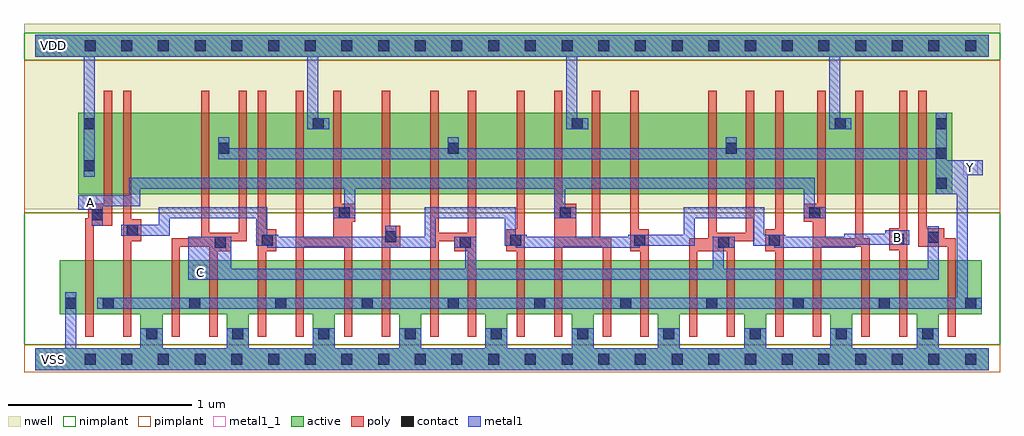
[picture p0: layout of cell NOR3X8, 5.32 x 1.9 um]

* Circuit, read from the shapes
.subckt NOR3X8 A B C VDD VSS Y
M1 Y A VSS VSS nfet w=0.295u l=0.045u m=7
M2 VSS B Y VSS nfet w=0.295u l=0.045u m=7
M3 Y C VSS VSS nfet w=0.295u l=0.045u m=7
M4 n1 A VDD VDD pfet w=0.445u l=0.045u
M5 n2 B n1 VDD pfet w=0.445u l=0.045u
M6 Y C n2 VDD pfet w=0.445u l=0.045u
M7 n3 C Y VDD pfet w=0.445u l=0.045u
M8 n4 B n3 VDD pfet w=0.445u l=0.045u
M9 VDD A n4 VDD pfet w=0.445u l=0.045u
M10 n5 A VDD VDD pfet w=0.445u l=0.045u
M11 n6 B n5 VDD pfet w=0.445u l=0.045u
M12 Y C n6 VDD pfet w=0.445u l=0.045u
M13 n7 C Y VDD pfet w=0.445u l=0.045u
M14 n8 B n7 VDD pfet w=0.445u l=0.045u
M15 VDD A n8 VDD pfet w=0.445u l=0.045u
M16 n9 A VDD VDD pfet w=0.445u l=0.045u
M17 n10 B n9 VDD pfet w=0.445u l=0.045u
M18 Y C n10 VDD pfet w=0.445u l=0.045u
M19 n11 C Y VDD pfet w=0.445u l=0.045u
M20 n12 B n11 VDD pfet w=0.445u l=0.045u
M21 VDD A n12 VDD pfet w=0.445u l=0.045u
M22 n13 A VDD VDD pfet w=0.445u l=0.045u
M23 n14 B n13 VDD pfet w=0.445u l=0.045u
M24 Y C n14 VDD pfet w=0.445u l=0.045u
.ends

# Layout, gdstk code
import gdstk
lib = gdstk.Library(unit=1e-6, precision=5e-10)
def R(c, l, rs):  # rectangles x0, y0, x1, y1
    for r in rs: c.add(gdstk.rectangle(r[:2], r[2:], *l))
def A(c, l, x, y, w, h, nx, ny, dx, dy):  # array of equal rectangles
    R(c, l, [(x+i*dx, y+j*dy, x+i*dx+w, y+j*dy+h) for i in range(nx) for j in range(ny)])
def P(c, l, *ps):  # polygons
    for p in ps: c.add(gdstk.Polygon(p, *l))
active = (1, 0)
nwell = (2, 0)
poly = (3, 0)
nimplant = (4, 0)
pimplant = (5, 0)
contact = (6, 0)
metal1 = (7, 0)
metal1_1 = (7, 1)

nor3x8 = lib.new_cell('NOR3X8')
R(nor3x8, active, [(0.235,0.9,5,1.345), (0,1.65,5.2,1.77)])
P(nor3x8, active, [(0.135,0.54),(5.16,0.54),(5.16,0.245),(4.925,0.245),(4.925,0.06),(5.2,0.06),(5.2,-0.06),(0,-0.06),(0,0.06),(0.575,0.06),(0.575,0.245),(0.695,0.245),(0.695,0.06),(1.045,0.06),(1.045,0.245),(1.165,0.245),(1.165,0.06),(1.515,0.06),(1.515,0.245),(1.635,0.245),(1.635,0.06),(1.985,0.06),(1.985,0.245),(2.105,0.245),(2.105,0.06),(2.455,0.06),(2.455,0.245),(2.575,0.245),(2.575,0.06),(2.925,0.06),(2.925,0.245),(3.045,0.245),(3.045,0.06),(3.395,0.06),(3.395,0.245),(3.515,0.245),(3.515,0.06),(3.865,0.06),(3.865,0.245),(3.985,0.245),(3.985,0.06),(4.335,0.06),(4.335,0.245),(4.455,0.245),(4.455,0.06),(4.805,0.06),(4.805,0.245),(0.135,0.245)])
R(nor3x8, nwell, [(-0.06,0.82,5.26,1.83)])
P(nor3x8, poly, [(0.375,1.465),(0.42,1.465),(0.42,0.73),(0.32,0.73),(0.32,0.125),(0.275,0.125),(0.275,0.77),(0.29,0.77),(0.29,0.85),(0.375,0.85)],
  [(0.48,1.465),(0.525,1.465),(0.525,0.765),(0.58,0.765),(0.58,0.645),(0.525,0.645),(0.525,0.125),(0.48,0.125)],
  [(0.905,1.465),(0.95,1.465),(0.95,0.69),(1.11,0.69),(1.11,1.465),(1.155,1.465),(1.155,0.645),(1.07,0.645),(1.07,0.59),(0.995,0.59),(0.995,0.125),(0.95,0.125),(0.95,0.615),(0.79,0.615),(0.79,0.125),(0.745,0.125),(0.745,0.66),(0.905,0.66)],
  [(1.215,1.465),(1.26,1.465),(1.26,0.71),(1.315,0.71),(1.315,0.59),(1.26,0.59),(1.26,0.125),(1.215,0.125)],
  [(1.42,1.465),(1.465,1.465),(1.465,0.66),(1.625,0.66),(1.625,1.465),(1.67,1.465),(1.67,0.85),(1.745,0.85),(1.745,0.75),(1.73,0.75),(1.73,0.125),(1.685,0.125),(1.685,0.615),(1.465,0.615),(1.465,0.125),(1.42,0.125)],
  [(1.89,1.465),(1.935,1.465),(1.935,0.73),(1.99,0.73),(1.99,0.61),(1.935,0.61),(1.935,0.125),(1.89,0.125)],
  [(2.155,1.465),(2.2,1.465),(2.2,0.69),(2.36,0.69),(2.36,1.465),(2.405,1.465),(2.405,0.125),(2.36,0.125),(2.36,0.59),(2.285,0.59),(2.285,0.645),(2.2,0.645),(2.2,0.125),(2.155,0.125)],
  [(2.625,1.465),(2.67,1.465),(2.67,0.125),(2.625,0.125),(2.625,0.59),(2.57,0.59),(2.57,0.71),(2.625,0.71)],
  [(2.83,1.465),(2.875,1.465),(2.875,0.85),(2.95,0.85),(2.95,0.66),(3.035,0.66),(3.035,1.465),(3.08,1.465),(3.08,0.66),(3.14,0.66),(3.14,0.125),(3.095,0.125),(3.095,0.615),(2.875,0.615),(2.875,0.125),(2.83,0.125)],
  [(3.245,1.465),(3.29,1.465),(3.29,0.71),(3.345,0.71),(3.345,0.125),(3.3,0.125),(3.3,0.59),(3.245,0.59)],
  [(3.67,1.465),(3.715,1.465),(3.715,0.69),(3.875,0.69),(3.875,1.465),(3.92,1.465),(3.92,0.645),(3.815,0.645),(3.815,0.125),(3.77,0.125),(3.77,0.59),(3.61,0.59),(3.61,0.125),(3.565,0.125),(3.565,0.66),(3.67,0.66)],
  [(4.035,1.465),(4.08,1.465),(4.08,0.125),(4.035,0.125),(4.035,0.59),(3.98,0.59),(3.98,0.71),(4.035,0.71)],
  [(4.265,1.465),(4.31,1.465),(4.31,0.66),(4.47,0.66),(4.47,1.465),(4.515,1.465),(4.515,0.66),(4.55,0.66),(4.55,0.125),(4.505,0.125),(4.505,0.615),(4.285,0.615),(4.285,0.125),(4.24,0.125),(4.24,0.75),(4.19,0.75),(4.19,0.85),(4.265,0.85)],
  [(4.71,1.465),(4.755,1.465),(4.755,0.125),(4.71,0.125),(4.71,0.595),(4.655,0.595),(4.655,0.715),(4.71,0.715)],
  [(4.815,1.465),(4.86,1.465),(4.86,0.715),(4.955,0.715),(4.955,0.66),(5.02,0.66),(5.02,0.125),(4.975,0.125),(4.975,0.615),(4.815,0.615)])
R(nor3x8, nimplant, [(-0.06,0.08,5.26,0.8), (-0.06,1.63,5.26,1.78)])
R(nor3x8, pimplant, [(-0.06,-0.07,5.26,0.08), (-0.06,0.8,5.26,1.63)])
A(nor3x8, contact, 0.07, -0.03, 0.06, 0.06, 26, 2, 0.2, 1.71)
A(nor3x8, contact, 0.605, 0.11, 0.06, 0.06, 10, 1, 0.47, 0)
A(nor3x8, contact, 0.37, 0.275, 0.06, 0.06, 11, 1, 0.47, 0)
R(nor3x8, contact, [(0.165,0.275,0.225,0.335), (0.98,0.61,1.04,0.67), (2.315,0.61,2.375,0.67), (3.725,0.61,3.785,0.67), (1.235,0.62,1.295,0.68), (2.59,0.62,2.65,0.68), (3.265,0.62,3.325,0.68), (4,0.62,4.06,0.68), (4.675,0.625,4.735,0.685), (4.865,0.635,4.925,0.695), (1.91,0.64,1.97,0.7), (0.5,0.675,0.56,0.735), (0.31,0.76,0.37,0.82), (1.655,0.77,1.715,0.83), (2.86,0.77,2.92,0.83), (4.22,0.77,4.28,0.83), (4.91,0.93,4.97,0.99), (0.265,1.025,0.325,1.085), (4.91,1.095,4.97,1.155), (1,1.12,1.06,1.18), (2.25,1.12,2.31,1.18), (3.765,1.12,3.825,1.18), (0.265,1.255,0.325,1.315), (1.515,1.255,1.575,1.315), (2.925,1.255,2.985,1.315), (4.36,1.255,4.42,1.315), (4.91,1.255,4.97,1.315)])
P(nor3x8, metal1, [(0,1.77),(5.2,1.77),(5.2,1.65),(4.39,1.65),(4.39,1.315),(4.45,1.315),(4.45,1.255),(4.33,1.255),(4.33,1.65),(2.955,1.65),(2.955,1.315),(3.015,1.315),(3.015,1.255),(2.895,1.255),(2.895,1.65),(1.545,1.65),(1.545,1.315),(1.605,1.315),(1.605,1.255),(1.485,1.255),(1.485,1.65),(0.325,1.65),(0.325,0.995),(0.265,0.995),(0.265,1.65),(0,1.65)],
  [(1,1.21),(1.06,1.21),(1.06,1.15),(2.25,1.15),(2.25,1.21),(2.31,1.21),(2.31,1.15),(3.765,1.15),(3.765,1.21),(3.825,1.21),(3.825,1.15),(4.91,1.15),(4.91,1.345),(4.97,1.345),(4.97,1.085),(5.165,1.085),(5.165,1.005),(5.085,1.005),(5.085,0.335),(5.16,0.335),(5.16,0.275),(0.34,0.275),(0.34,0.335),(5.025,0.335),(5.025,0.9),(4.91,0.9),(4.91,1.09),(1,1.09)],
  [(0.515,0.99),(4.25,0.99),(4.25,0.83),(4.31,0.83),(4.31,0.77),(4.19,0.77),(4.19,0.93),(2.89,0.93),(2.89,0.83),(2.95,0.83),(2.95,0.77),(2.83,0.77),(2.83,0.93),(1.745,0.93),(1.745,0.77),(1.625,0.77),(1.625,0.83),(1.685,0.83),(1.685,0.93),(0.575,0.93),(0.575,0.835),(0.37,0.835),(0.37,0.73),(0.31,0.73),(0.31,0.815),(0.235,0.815),(0.235,0.895),(0.515,0.895)],
  [(0.675,0.83),(1.265,0.83),(1.265,0.68),(1.325,0.68),(1.325,0.67),(1.91,0.67),(1.91,0.73),(1.97,0.73),(1.97,0.67),(2.125,0.67),(2.125,0.83),(2.62,0.83),(2.62,0.68),(2.68,0.68),(2.68,0.67),(3.235,0.67),(3.235,0.68),(3.535,0.68),(3.535,0.83),(3.975,0.83),(3.975,0.68),(4.09,0.68),(4.09,0.67),(4.41,0.67),(4.41,0.685),(4.635,0.685),(4.635,0.705),(4.765,0.705),(4.765,0.625),(4.47,0.625),(4.47,0.61),(4.03,0.61),(4.03,0.62),(3.915,0.62),(3.915,0.77),(3.595,0.77),(3.595,0.62),(3.295,0.62),(3.295,0.61),(2.62,0.61),(2.62,0.62),(2.56,0.62),(2.56,0.77),(2.185,0.77),(2.185,0.61),(1.265,0.61),(1.265,0.62),(1.205,0.62),(1.205,0.77),(0.735,0.77),(0.735,0.675),(0.47,0.675),(0.47,0.735),(0.675,0.735)],
  [(0.835,0.67),(1.07,0.67),(1.07,0.495),(2.345,0.495),(2.345,0.61),(2.285,0.61),(2.285,0.67),(2.405,0.67),(2.405,0.495),(3.695,0.495),(3.695,0.67),(3.815,0.67),(3.815,0.61),(3.755,0.61),(3.755,0.495),(4.865,0.495),(4.865,0.725),(4.925,0.725),(4.925,0.435),(0.835,0.435)],
  [(0.165,0.365),(0.225,0.365),(0.225,0.06),(0.575,0.06),(0.575,0.17),(0.695,0.17),(0.695,0.06),(1.045,0.06),(1.045,0.17),(1.165,0.17),(1.165,0.06),(1.515,0.06),(1.515,0.17),(1.635,0.17),(1.635,0.06),(1.985,0.06),(1.985,0.17),(2.105,0.17),(2.105,0.06),(2.455,0.06),(2.455,0.17),(2.575,0.17),(2.575,0.06),(2.925,0.06),(2.925,0.17),(3.045,0.17),(3.045,0.06),(3.395,0.06),(3.395,0.17),(3.515,0.17),(3.515,0.06),(3.865,0.06),(3.865,0.17),(3.985,0.17),(3.985,0.06),(4.335,0.06),(4.335,0.17),(4.455,0.17),(4.455,0.06),(4.805,0.06),(4.805,0.17),(4.925,0.17),(4.925,0.06),(5.2,0.06),(5.2,-0.06),(0,-0.06),(0,0.06),(0.165,0.06)])
R(nor3x8, metal1_1, [(0.06,-0.04,0.14,0.04), (0.86,0.435,0.94,0.515), (4.66,0.625,4.74,0.705), (0.26,0.815,0.34,0.895), (5.06,1.005,5.14,1.085), (0.06,1.67,0.14,1.75)])
nor3x8.add(gdstk.Label('Y', (5.1,1.045), layer=7, texttype=1))
nor3x8.add(gdstk.Label('A', (0.3,0.855), layer=7, texttype=1))
nor3x8.add(gdstk.Label('B', (4.7,0.665), layer=7, texttype=1))
nor3x8.add(gdstk.Label('C', (0.9,0.475), layer=7, texttype=1))
nor3x8.add(gdstk.Label('VDD', (0.1,1.71), layer=7, texttype=1))
nor3x8.add(gdstk.Label('VSS', (0.1,0), layer=7, texttype=1))
nor3x8.add(gdstk.Label('NOR3X8', (0,0), layer=63, texttype=0))

lib.write_gds('NOR3X8.gds')
